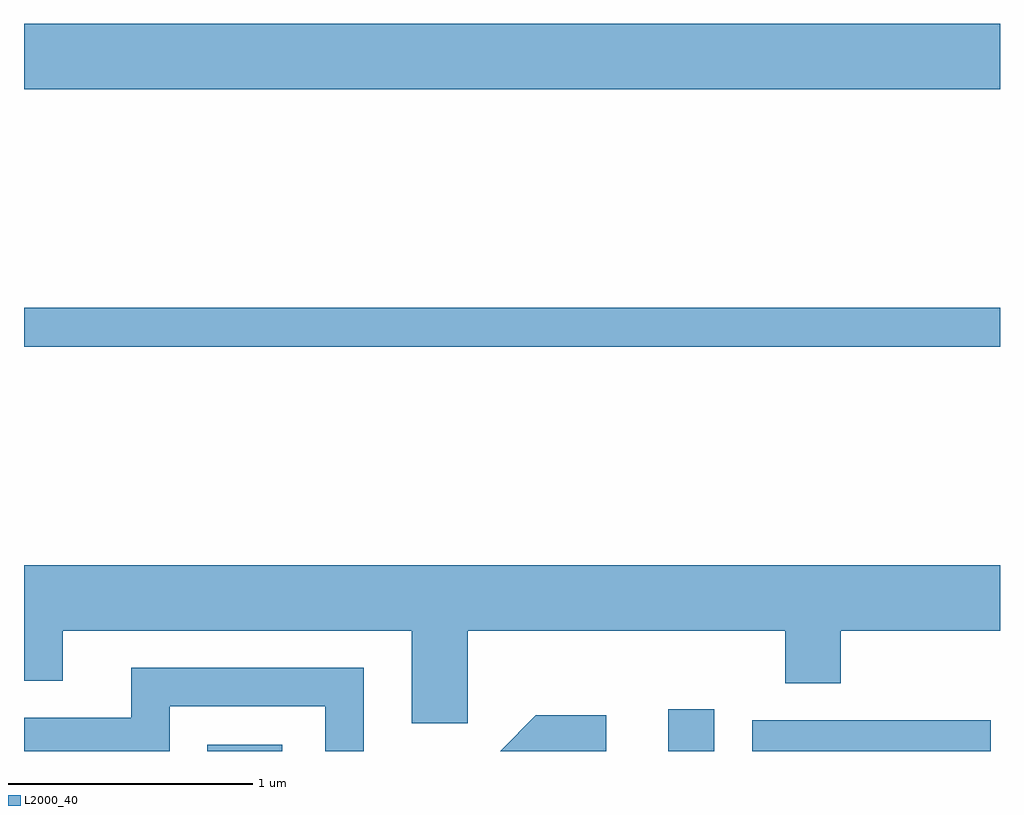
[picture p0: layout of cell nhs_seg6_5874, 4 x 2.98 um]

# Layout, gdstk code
import gdstk
lib = gdstk.Library(unit=1e-6, precision=1e-09)
def R(c, l, rs):  # rectangles x0, y0, x1, y1
    for r in rs: c.add(gdstk.rectangle(r[:2], r[2:], *l))
def P(c, l, *ps):  # polygons
    for p in ps: c.add(gdstk.Polygon(p, *l))
L2000_40 = (2000, 40)

nhs_seg6_5874 = lib.new_cell('nhs_seg6_5874')
R(nhs_seg6_5874, L2000_40, [(364.361,1596.162,364.669,1596.189), (366.251,1596.162,366.439,1596.334), (366.596,1596.162,367.574,1596.289), (363.611,1597.821,367.611,1597.979), (363.611,1598.876,367.611,1599.144)])
P(nhs_seg6_5874, L2000_40, [(365.429,1596.656),(366.731,1596.656),(366.731,1596.441),(366.959,1596.441),(366.959,1596.656),(367.611,1596.656),(367.611,1596.924),(363.611,1596.924),(363.611,1596.451),(363.769,1596.451),(363.769,1596.656),(365.201,1596.656),(365.201,1596.276),(365.429,1596.276)],
  [(364.209,1596.346),(364.846,1596.346),(364.846,1596.162),(365.004,1596.162),(365.004,1596.504),(364.051,1596.504),(364.051,1596.299),(363.611,1596.299),(363.611,1596.162),(364.209,1596.162)],
  [(365.998,1596.309),(365.709,1596.309),(365.562,1596.162),(365.998,1596.162)])

lib.write_gds('nhs_seg6_5874.gds')
